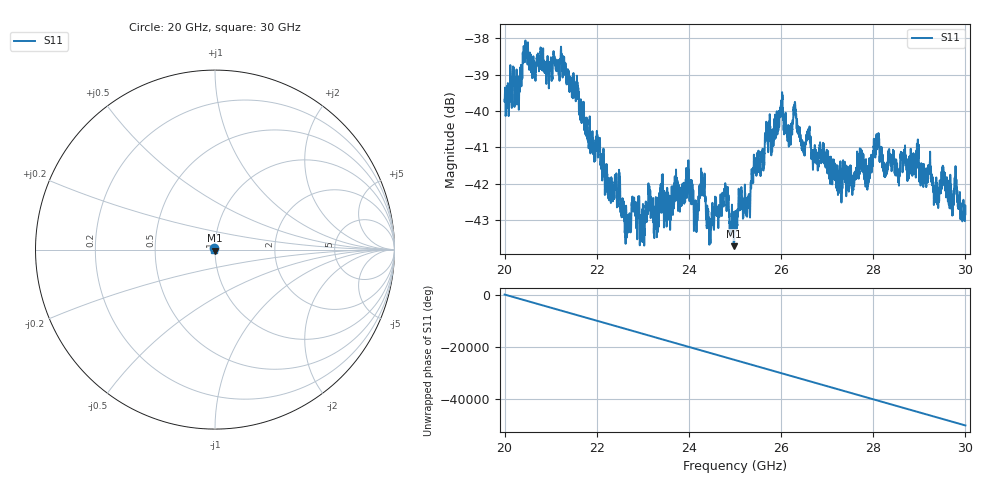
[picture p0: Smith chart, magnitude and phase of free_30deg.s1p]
#  HZ  S  RI  R  50.00
! Rohde & Schwarz ZVA40 4Ports - Version 3.90 - 1145.1110k42 SN: 100403
! Date: 2023-09-28 10:17:59
! Measurement: S12
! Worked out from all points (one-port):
!   5001 points, 20 GHz to 30 GHz, reference 50 ohm
!   lowest |S11| = -43.7 dB at 24.97 GHz (marker M1), VSWR 1.01, Z = 50 - j0.651 ohm
!   |S11| at or under -10 dB: start of sweep to end of sweep
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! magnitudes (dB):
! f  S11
! 20 GHz  -39.7
! 20.28 GHz  -39.1
! 20.46 GHz  -38.2
! 21.25 GHz  -38.9
! 22.28 GHz  -42.1
! 22.5 GHz  -41.9
! 22.64 GHz  -42.8
! 22.8 GHz  -42.7
! 22.98 GHz  -43.0
! 23.14 GHz  -42.3
! 23.75 GHz  -41.9
! 24.03 GHz  -42.0
! 24.15 GHz  -42.7
! 24.29 GHz  -41.9
! 24.44 GHz  -43.2
! 24.81 GHz  -42.5
! 24.97 GHz  -43.7
! 25 GHz  -43.1
! 25.99 GHz  -40.0
! 26.25 GHz  -40.3
! 27.5 GHz  -41.6
! 27.88 GHz  -41.9
! 28.08 GHz  -41.1
! 28.26 GHz  -41.7
! 28.75 GHz  -41.7
! 29.36 GHz  -42.2
! 29.53 GHz  -41.7
! 30 GHz  -42.8
